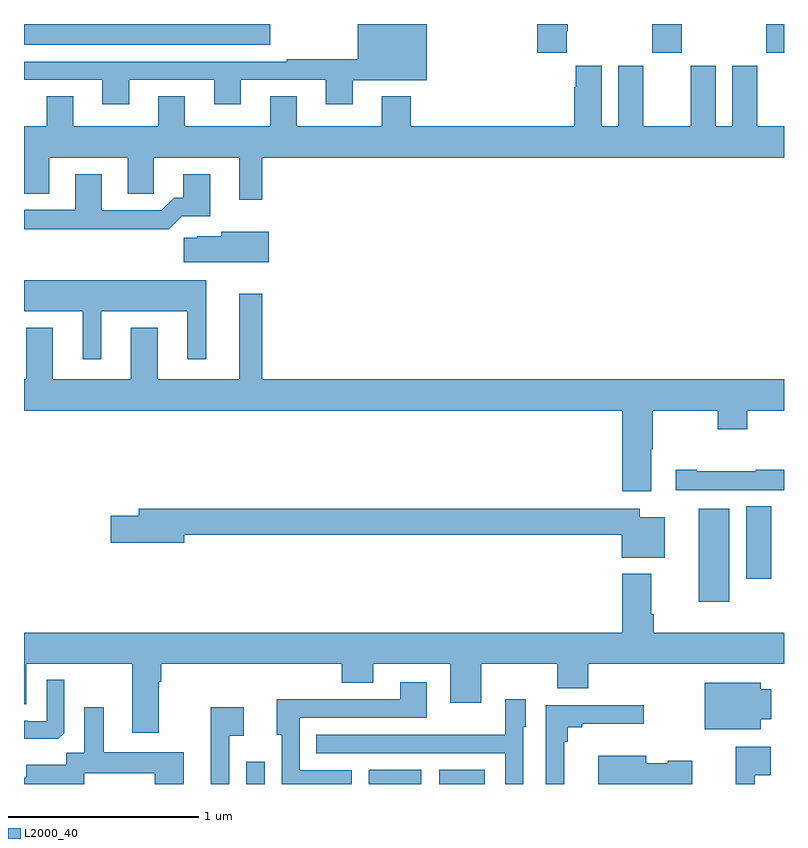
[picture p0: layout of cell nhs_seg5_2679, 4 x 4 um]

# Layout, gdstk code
import gdstk
lib = gdstk.Library(unit=1e-6, precision=1e-09)
def R(c, l, rs):  # rectangles x0, y0, x1, y1
    for r in rs: c.add(gdstk.rectangle(r[:2], r[2:], *l))
def P(c, l, *ps):  # polygons
    for p in ps: c.add(gdstk.Polygon(p, *l))
L2000_40 = (2000, 40)

nhs_seg5_2679 = lib.new_cell('nhs_seg5_2679')
R(nhs_seg5_2679, L2000_40, [(268.17,850.799,268.266,850.915), (268.814,850.799,269.092,850.873), (269.186,850.799,269.425,850.873), (270.551,851.757,270.712,852.247), (270.8,851.88,270.934,852.26), (270.307,854.649,270.462,854.799), (270.907,854.649,271,854.799), (267,854.69,268.297,854.799)])
P(nhs_seg5_2679, L2000_40, [(267.553,854.505),(268.001,854.505),(268.001,854.376),(268.141,854.376),(268.141,854.505),(268.589,854.505),(268.589,854.376),(268.729,854.376),(268.729,854.504),(269.119,854.504),(269.119,854.799),(268.757,854.799),(268.757,854.614),(268.384,854.614),(268.384,854.601),(267,854.601),(267,854.505),(267.413,854.505),(267.413,854.376),(267.553,854.376)],
  [(269.857,854.761),(269.862,854.761),(269.862,854.799),(269.702,854.799),(269.702,854.649),(269.857,854.649)],
  [(268.255,854.096),(271,854.096),(271,854.26),(270.859,854.26),(270.859,854.578),(270.728,854.578),(270.728,854.26),(270.64,854.26),(270.64,854.578),(270.509,854.578),(270.509,854.26),(270.259,854.26),(270.259,854.578),(270.128,854.578),(270.128,854.26),(270.04,854.26),(270.04,854.578),(269.903,854.578),(269.903,854.465),(269.897,854.465),(269.897,854.26),(269.036,854.26),(269.036,854.419),(268.883,854.419),(268.883,854.26),(268.435,854.26),(268.435,854.42),(268.295,854.42),(268.295,854.26),(267.847,854.26),(267.847,854.42),(267.707,854.42),(267.707,854.26),(267.259,854.26),(267.259,854.42),(267.119,854.42),(267.119,854.26),(267,854.26),(267,853.906),(267.133,853.906),(267.133,854.096),(267.545,854.096),(267.545,853.906),(267.684,853.906),(267.684,854.096),(268.133,854.096),(268.133,853.875),(268.255,853.875)],
  [(267.831,853.788),(267.979,853.788),(267.979,854.008),(267.839,854.008),(267.839,853.885),(267.79,853.885),(267.723,853.818),(267.409,853.818),(267.409,854.008),(267.269,854.008),(267.269,853.821),(267,853.821),(267,853.72),(267.505,853.72),(267.505,853.718),(267.761,853.718)],
  [(268.288,853.705),(268.038,853.705),(268.038,853.681),(267.912,853.681),(267.912,853.673),(267.84,853.673),(267.84,853.544),(268.288,853.544)],
  [(267.406,853.286),(267.86,853.286),(267.86,853.035),(267.958,853.035),(267.958,853.45),(267,853.45),(267,853.286),(267.308,853.286),(267.308,853.035),(267.406,853.035)],
  [(270.301,852.56),(270.309,852.56),(270.309,852.764),(270.652,852.764),(270.652,852.665),(270.807,852.665),(270.807,852.764),(271,852.764),(271,852.928),(268.255,852.928),(268.255,853.378),(268.133,853.378),(268.133,852.928),(267.703,852.928),(267.703,853.201),(267.563,853.201),(267.563,852.928),(267.151,852.928),(267.151,853.201),(267.011,853.201),(267.011,852.928),(267,852.928),(267,852.764),(270.149,852.764),(270.149,852.339),(270.301,852.339)],
  [(271,852.454),(270.851,852.454),(270.851,852.444),(270.541,852.444),(270.541,852.454),(270.429,852.454),(270.429,852.345),(271,852.345)],
  [(270.373,852.202),(270.24,852.202),(270.24,852.248),(267.605,852.248),(267.605,852.212),(267.456,852.212),(267.456,852.07),(267.844,852.07),(267.844,852.112),(270.146,852.112),(270.146,851.99),(270.373,851.99)],
  [(267.709,851.336),(267.722,851.336),(267.722,851.432),(268.673,851.432),(268.673,851.333),(268.837,851.333),(268.837,851.432),(269.243,851.432),(269.243,851.226),(269.407,851.226),(269.407,851.432),(269.807,851.432),(269.807,851.304),(269.971,851.304),(269.971,851.432),(271,851.432),(271,851.596),(270.314,851.596),(270.314,851.692),(270.301,851.692),(270.301,851.905),(270.149,851.905),(270.149,851.596),(267,851.596),(267,851.218),(267.012,851.218),(267.012,851.432),(267.569,851.432),(267.569,851.07),(267.709,851.07)],
  [(267.213,851.067),(267.213,851.347),(267.12,851.347),(267.12,851.13),(267.02,851.13),(267.02,851.133),(267,851.133),(267,851.036),(267.181,851.036)],
  [(268.725,850.872),(268.452,850.872),(268.452,851.148),(269.119,851.148),(269.119,851.335),(268.979,851.335),(268.979,851.244),(268.549,851.244),(268.549,851.246),(268.331,851.246),(268.331,851.058),(268.356,851.058),(268.356,850.799),(268.725,850.799)],
  [(270.877,851.141),(270.934,851.141),(270.934,851.299),(270.877,851.299),(270.877,851.332),(270.584,851.332),(270.584,851.087),(270.877,851.087)],
  [(269.628,851.1),(269.641,851.1),(269.641,851.245),(269.532,851.245),(269.532,851.059),(269.215,851.059),(269.215,851.058),(268.537,851.058),(268.537,850.962),(269.532,850.962),(269.532,850.799),(269.628,850.799)],
  [(269.843,851.021),(269.861,851.021),(269.861,851.098),(269.938,851.098),(269.938,851.117),(270.262,851.117),(270.262,851.214),(269.745,851.214),(269.745,850.799),(269.843,850.799)],
  [(267.318,850.856),(267.689,850.856),(267.689,850.799),(267.841,850.799),(267.841,850.966),(267.421,850.966),(267.421,851.203),(267.317,851.203),(267.317,850.964),(267.222,850.964),(267.222,850.9),(267.011,850.9),(267.011,850.833),(267,850.833),(267,850.799),(267.318,850.799)],
  [(268.08,851.054),(268.156,851.054),(268.156,851.203),(267.983,851.203),(267.983,850.799),(268.08,850.799)],
  [(270.845,850.844),(270.931,850.844),(270.931,850.996),(270.745,850.996),(270.745,850.799),(270.845,850.799)],
  [(270.517,850.922),(270.387,850.922),(270.387,850.909),(270.274,850.909),(270.274,850.948),(270.023,850.948),(270.023,850.799),(270.517,850.799)])

lib.write_gds('nhs_seg5_2679.gds')
